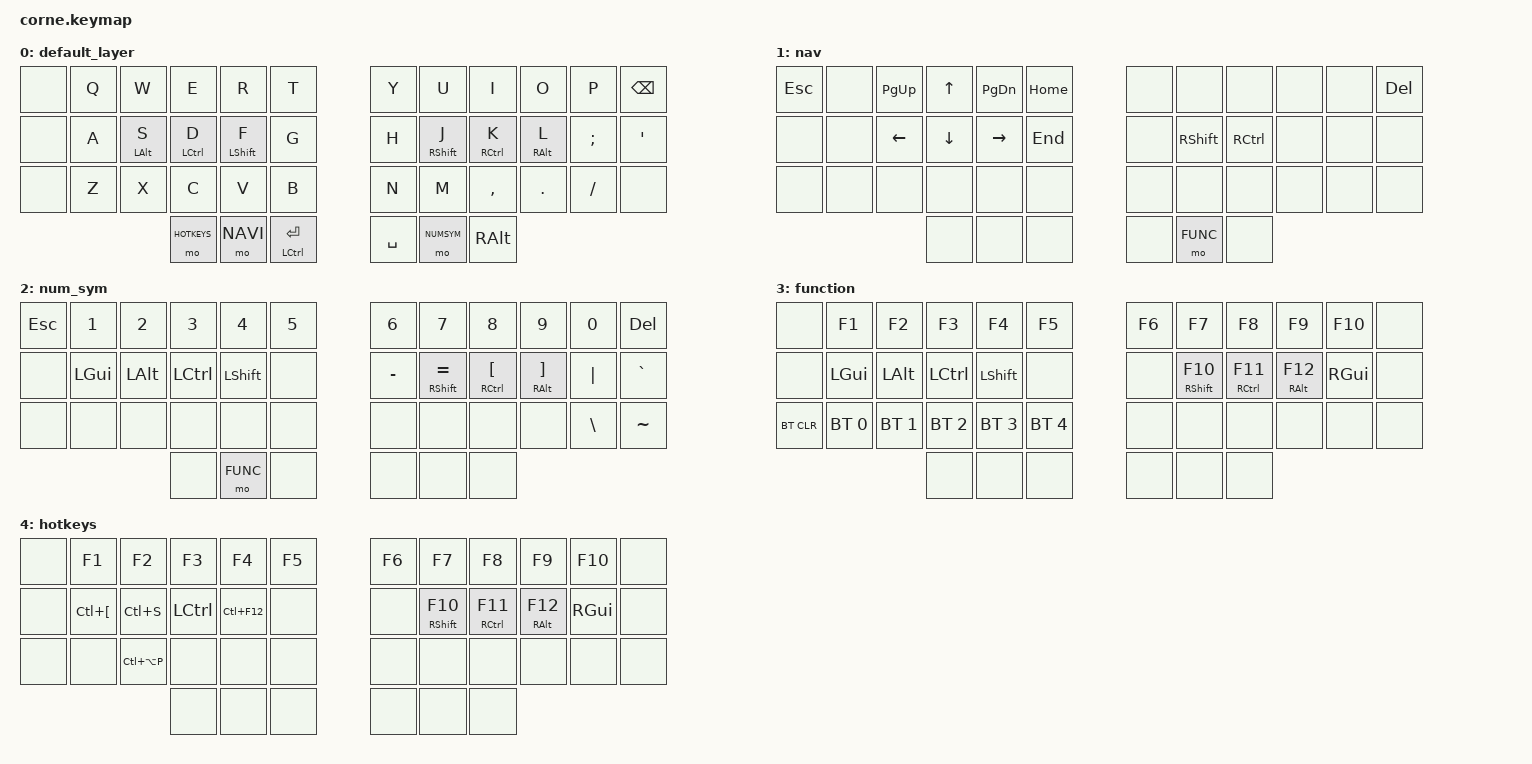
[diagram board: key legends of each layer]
/*
 * Copyright (c) 2020 The ZMK Contributors
 *
 * SPDX-License-Identifier: MIT
 */

#include <behaviors.dtsi>
#include <dt-bindings/zmk/keys.h>
#include <dt-bindings/zmk/bt.h>
#include <dt-bindings/zmk/ext_power.h>

#define DEF 0
#define NAVI 1
#define NUMSYM 2
#define FUNC 3
#define HOTKEYS 4


/ {
	combos {
        compatible = "zmk,combos";
        combo_tab {
            timeout-ms = <50>;
            key-positions = <1 2>;
            bindings = <&kp TAB>;
        };
    };
};

/ {

    behaviors {
        hm: homerow_mods {
            compatible = "zmk,behavior-hold-tap";
        label = "HOMEROW_MODS";
        #binding-cells = <2>;
        tapping_term_ms = <250>;
        flavor = "tap-preferred";
        bindings = <&kp>, <&kp>;
        };
    };

        keymap {
                compatible = "zmk,keymap";

                default_layer {
// -----------------------------------------------------------------------------------------
// |  TAB |  Q  |  W  |  E  |  R  |  T  ||   ||  Y  |  U   |  I  |  O  |  P  | BKSP |
// | CAPS |  A  |  S  |  D  |  F  |  G  ||   ||  H  |  J   |  K  |  L  |  ;  |  '   |
// |      |  Z  |  X  |  C  |  V  |  B  ||   ||  N  |  M   |  ,  |  .  |  /  |      |
//                    |     | LWR | ENT ||   || SPC | RSE  |     |
                        bindings = <
   &none  &kp Q  &kp W       &kp E           &kp R        &kp T                      &kp Y      &kp U        &kp I           &kp O         &kp P     &kp BSPC
   &none  &kp A  &hm LALT S  &hm LCTRL D     &hm LSHFT F  &kp G                      &kp H      &hm RSHFT J  &hm RCTRL K     &hm RALT L    &kp SEMI  &kp SQT
   &none  &kp Z  &kp X       &kp C           &kp V        &kp B                      &kp N      &kp M        &kp COMMA       &kp DOT       &kp FSLH  &none
                             &mo HOTKEYS     &mo NAVI     &mt LCTRL RET              &kp SPACE  &mo NUMSYM   &kp RALT
                        >;
                };

                nav {
// -----------------------------------------------------------------------------------------
// | ESC |      |      |       |       |     ||   ||     |     |  UP |     | HOME | DEL |
// |     | LGUI | LALT | LCTRL | LSHFT |     ||   ||     | LFT | DWN | RGT | END  |     |
// |     |      |      |       |       |     ||   ||     |     |     |     |      |     |
//                     |  RSE  |       |     ||   ||     | RSE |     |
                        bindings = <
   &kp ESC   &none     &kp PG_UP &kp UP     &kp PG_DN  &kp HOME             &none  &none         &none      &none      &none  &kp DEL 
   &none     &none     &kp LEFT  &kp DOWN   &kp RIGHT  &kp END              &none  &kp RSHFT     &kp RCTRL  &none      &none  &none 
   &none     &none     &none     &none      &none      &none                &none  &none         &none      &none      &none  &none 
                                 &none      &none      &none                &none  &mo FUNC      &none
                        >;
                };
                
                num_sym {
// -----------------------------------------------------------------------------------------
// |  ESC |  1   |  2   |   3   |   4   |  5  ||   ||  6  |  7  |  8  |  9  |  0  | DEL |
// |      | LGUI | LALT | LCTRL | LSHFT |     ||   ||  -  |  =  |  {  |  }  | "|" |  `  |
// |      |      |      |       |       |     ||   ||     |     |     |     |  \  |  ~  |
//                      |       |  RSE  |     ||   ||     |     |     |
                        bindings = <
   &kp ESC  &kp N1    &kp N2    &kp N3     &kp N4        &kp N5          &kp N6     &kp N7           &kp N8          &kp N9         &kp N0         &kp DEL
   &none    &kp LGUI  &kp LALT  &kp LCTRL  &kp LSHFT     &none           &kp MINUS  &hm RSHFT EQUAL  &hm RCTRL LBKT  &hm RALT RBKT  &kp PIPE       &kp GRAVE
   &none    &none     &none     &none      &none         &none           &none      &none            &none           &none          &kp BSLH       &kp TILDE
                                &none      &mo FUNC      &none           &none      &none            &none
                        >;
                };

                function {
// -----------------------------------------------------------------------------------------
// |      | F1  |  F2  |  F3   |  F4   | F5  ||   || F6  | F7  | F8  | F9  | F10 |      |
// |      |     | LALT | LCTRL | LSHFT |     ||   ||     | F10 | F11 | F12 |     |      |
// | BTCLR| BT1 | BT2  |  BT3  |  BT4  | BT5 ||   ||     |     |     |     |     |      |
//                     |       |       |     ||   ||     |     |     |
                        bindings = <
   &none       &kp F1        &kp F2        &kp F3        &kp F4        &kp F5           &kp F6  &kp F7        &kp F8         &kp F9        &kp F10   &none
   &none       &kp LGUI      &kp LALT      &kp LCTRL     &kp LSHFT     &none            &none  &hm RSHFT F10  &hm RCTRL F11  &hm RALT F12  &kp RGUI  &none
   &bt BT_CLR  &bt BT_SEL 0  &bt BT_SEL 1  &bt BT_SEL 2  &bt BT_SEL 3  &bt BT_SEL 4     &none  &none          &none          &none         &none     &none
                                           &none         &none         &none            &none  &none          &none
                        >;
                };         

                hotkeys {
// -----------------------------------------------------------------------------------------
// |      | F1  |  F2  |  F3   |  F4   | F5  ||   || F6  | F7  | F8  | F9  | F10 |      |
// |      |     | LALT | LCTRL | LSHFT |     ||   ||     | F10 | F11 | F12 |     |      |
// | BTCLR| BT1 | BT2  |  BT3  |  BT4  | BT5 ||   ||     |     |     |     |     |      |
//                     |       |       |     ||   ||     |     |     |
                        bindings = <
   &none  &kp F1        &kp F2         &kp F3     &kp F4          &kp F5           &kp F6  &kp F7        &kp F8         &kp F9        &kp F10   &none
   &none  &kp LC(LBKT)  &kp LC(S)      &kp LCTRL  &kp LC(F12)     &none            &none  &hm RSHFT F10  &hm RCTRL F11  &hm RALT F12  &kp RGUI  &none
   &none  &none         &kp LC(LA(P))  &none      &none           &none            &none  &none          &none          &none         &none     &none
                                       &none      &none           &none            &none  &none          &none
                        >;
                };
                
        };
};
